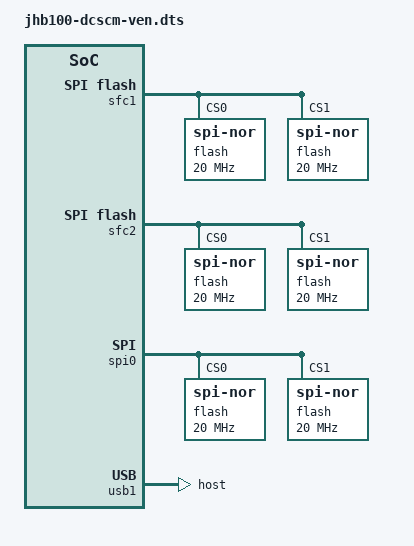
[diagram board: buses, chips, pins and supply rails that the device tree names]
// SPDX-License-Identifier: GPL-2.0 OR MIT
/*
 * Copyright (c) 2026 StarFive Technology Co., Ltd.
 */

#include "jhb100-dcscm.dtsi"
#include "jhb100-evb1-sfc0-flash.dtsi"

/ {
	chosen {
		stdout-path = "serial6:115200n8";
	};
};

&espi0 {
	starfive,vgpio_mode = <1>;
	gpio-line-names  =
										/* Output pins */
		"", "", "", "",							/* VGPIO0-3 */
		"", "",								/* VGPIO4-5 */
		"", "",								/* VGPIO6-7 */
		"", "", "", "", "", "", "", "",					/* VGPIO8-15*/
		"", "", "", "",	"", "", "", "",					/* VGPIO16-23 */
		"", "", "", "",	"", "", "", "",					/* VGPIO23-31 */
										/* Input pins */
		"", "", "", "",							/* VGPIO32-35 */
		"", "", "", "",							/* VGPIO36-39 */
		"", "", "", "",	"", "", "", "",					/* VGPIO40-47 */
		"", "", "", "",	"", "", "", "",					/* VGPIO48-55 */
		"", "", "", "",	"", "", "", "";					/* VGPIO56-63 */
};

&i2c1_master {
	status = "disabled";
};

&i2c2_master {
	status = "disabled";
};

&i2c3_master {
	status = "disabled";
};

&i2c5_master {
	status = "disabled";
};

&i2c14_master {
	status = "disabled";
};

&i2c15_master {
	status = "disabled";
};

&ltpi0 {
	nlgpio-number = /bits/ 16 <128>;

	llgpo0: virgpio@1000 {
		ngpios = <16>;
		status = "okay";
	};

	llgpi0: virgpio@1180 {
		ngpios = <16>;
		status = "okay";
	};

	nlgpo0: virgpio@2000 {
		ngpios = <128>;
		status = "okay";
	};

	nlgpi0: virgpio@2180 {
		ngpios = <128>;
		status = "okay";
	};
};

&ltpi1 {
	nlgpio-number = /bits/ 16 <128>;

	llgpo1: virgpio@1000 {
		ngpios = <16>;
		status = "okay";
	};

	llgpi1: virgpio@1180 {
		ngpios = <16>;
		status = "okay";
	};

	nlgpo1: virgpio@2000 {
		ngpios = <128>;
		status = "okay";
	};

	nlgpi1: virgpio@2180 {
		ngpios = <128>;
		status = "okay";
	};
};

&pinctrl_adc0 {
	gpio-line-names =
		"MUX_I3C14_EN_N", "MUX_I3C15_EN_N",			/* GPIOG0-1 */
		"BMC_MUX_I3C14_SEL", "BMC_MUX_I3C15_SEL",		/* GPIOG2-3 */
		"NC", "NC", "NC", "NC";					/* GPIOG4-7 */
};

&pinctrl_adc1 {
	gpio-line-names =
		"MUX_ROT_P0_EN_N", "MUX_ROT_P0_SEL",			/* GPIOH0-1 */
		"MUX_ROT_P1_EN_N", "MUX_ROT_P1_SEL",			/* GPIOH2-3 */
		"MUX_ROT_PROG_EN_N", "MUX_ROT_PROG_SEL", "NC", "NC";	/* GPIOH4-7 */
};

&pinctrl_bmcperiph0 {
	gpio-line-names =
		"I2C0_SCL", "I2C0_SDA", "I2C1_SCL", "I2C1_SDA",			/* GPIOB0-3 */
		"I2C2_SCL", "I2C2_SDA", "I2C3_SCL", "I2C3_SDA",			/* GPIOB4-7 */
		"I2C4_SCL", "I2C4_SDA", "I3C5_SCL", "I3C5_SDA",			/* GPIOB8-11 */
		"I2C6_SCL", "I2C6_SDA", "I2C7_SCL", "I2C7_SDA",			/* GPIOB12-15 */
		"I2C8_SCL", "I2C8_SDA", "NC", "NC",				/* GPIOB16-19 */
		"I2C10_SCL", "I2C10_SDA", "I2C11_SCL", "I2C11_SDA",		/* GPIOB20-23 */
		"I2C12_SCL", "I2C12_SDA", "I2C13_SCL", "I2C13_SDA",		/* GPIOB24-27 */
		"NC", "NC", "GMAC1_MDC", "GMAC1_MDIO",				/* GPIOB28-31 */
		"NC", "NC", "NC", "NC",						/* GPIOB32-35 */
		"NC", "NC", "NC", "NC",						/* GPIOB36-39 */
		"NC", "NC","NC", "NC",						/* GPIOB40-43 */
		"I3C0LV_SCL", "I3C0LV_SDA", "I3C1LV_SCL", "I3C1LV_SDA",		/* GPIOB44-47 */
		"NC", "NC", "NC", "NC",						/* GPIOB48-51 */
		"NC", "NC", "NC", "NC",						/* GPIOB52-55 */
		"NC", "NC", "NC", "NC";						/* GPIOB56-59 */

	gpioe-i3c0-vsel = <JHB100_VREF_1_8V>; /* VREF for GPIOB8-11, 32-33 */
	gpioe-i3c1-vsel = <JHB100_VREF_1_8V>; /* VREF for GPIOB12-15, 34-35 */
	gpioe-i3c2-vsel = <JHB100_VREF_1_8V>; /* VREF for GPIOB16-23 */
	gpioe-i3c4-vsel = <JHB100_VREF_1_8V>; /* VREF for GPIOB36-43 */
};

&pinctrl_bmcperiph1 {
	gpio-line-names =
		"SPI0_CS0", "SPI0_CS1", "SPI0_SCLK", "SPI0_TX",			/* GPIOC0-3 */
		"SPI0_RX", "SFC0_CS0", "SFC0_CS1", "SFC0_SCLK",			/* GPIOC4-7 */
		"SFC0_IO0", "SFC0_IO1", "SFC0_IO2", "SFC0_IO3",			/* GPIOC8-11 */
		"SFC1_CS0", "SFC1_CS1", "NC", "SFC1_SCLK",			/* GPIOC12-15 */
		"SFC1_IO0", "SFC1_IO1", "SFC1_IO2", "SFC1_IO3",			/* GPIOC16-19 */
		"SFC2_CS0", "SFC2_CS1", "NC", "SFC2_SCLK",			/* GPIOC20-23 */
		"SFC2_IO0", "SFC2_IO1", "SFC2_IO2", "SFC2_IO3",			/* GPIOC24-27 */
		"SGPIO0_CLK", "SGPIO0_LD", "SGPIO0_DO", "SGPIO0_DI",		/* GPIOC28-31 */
		"I2C14_SCL", "I2C14_SDA", "I2C15_SCL", "I2C15_SDA";		/* GPIOC32-35 */

	gpioe-spi-vsel = <JHB100_VREF_3_3V>; /* VREF for GPIOC0-4 */
	gpioe-qspi0-vsel = <JHB100_VREF_3_3V>; /* VREF for GPIOC5-11 */
	gpioe-qspi1-vsel = <JHB100_VREF_1_8V>; /* VREF for GPIOC12-19 */
	gpioe-qspi2-vsel = <JHB100_VREF_1_8V>; /* VREF for GPIOC20-27 */
};

&pinctrl_bmcperiph2 {
	gpio-line-names =
		"USB_PWR_EN", "GMAC1_PHY_INT_N",				/* GPIOD0-1 */
		"VGA_PWR_EN_R", "DP_PWR_EN_R",					/* GPIOD2-3 */
		"M_PESTI_RSVD", "ROT_RSVD_GPIO5",				/* GPIOD4-5 */
		"ROT_RSVD_GPIO6", "ROT_P1_RST_L",				/* GPIOD6-7 */
		"P1_RSTIND_BUF_L", "PROG_BMC_ROTGOLD_FW",			/* GPIOD8-9 */
		"PROG_CPU0_BIOS", "PROG_CPU1_BIOS",				/* GPIOD10-11 */
		"PROG_ROT_FW_FLASH", "RSVD_GPIO_PROG_CNTRL",			/* GPIOD12-13 */
		"ROT_BRD_ID0", "ROT_BRD_ID1",					/* GPIOD14-15 */
		"NC", "BMC_RSTIND_L", "NC", "GMAC2_RCLK",			/* GPIOD16-19 */
		"GMAC2_RXDV", "GMAC2_RXD0", "GMAC2_RXD1", "NC",			/* GPIOD20-23 */
		"NC", "NC", "GMAC2_TXEN", "GMAC2_TXD0",				/* GPIOD24-27 */
		"GMAC2_TXD1", "NC", "NC";					/* GPIOD28-30 */

	gpionw-vsel = <JHB100_VREF_3_3V>; /* VREF for GPIOD19-30 */
};

&pinctrl_bmcperiph2_pok {
	gpio-line-names =
		"NC", "NC", "NC", "NC",					/* GPIOD31-34 */
		"NC", "NC", "NC", "NC",					/* GPIOD35-38 */
		"NC", "NC", "NC", "NC",					/* GPIOD39-42 */
		"NC", "NC", "NC", "NC",					/* GPIOD43-46 */
		"NC", "NC";						/* GPIOD47-48 */
};

&pinctrl_bmcperiph3 {
	gpio-line-names =
		"GMAC0_MDC", "GMAC0_MDIO", "GMAC0_RXD1", "GMAC0_RXD0",		/* GPIOE0-3 */
		"GMAC0_RXDV", "NC", "GMAC0_TXEN", "GMAC0_TXD0",			/* GPIOE4-7 */
		"GMAC0_TXD1", "GMAC0_RCLKI", "GMAC0_RCLKO";			/* GPIOE8-11 */

	gpios-vsel = <JHB100_VREF_3_3V>; /* VREF for GPIOE0-10 */
};

&pinctrl_emmc {
	gpio-line-names =
		"EMMC0_CLK", "EMMC0_RST", "EMMC0_CMD", "EMMC0_DQS",		/* GPIOF0-3 */
		"EMMC0_DATA0", "EMMC0_DATA1", "EMMC0_DATA2", "EMMC0_DATA3",	/* GPIOF4-7 */
		"EMMC0_DATA4", "EMMC0_DATA5", "EMMC0_DATA6", "EMMC0_DATA7";	/* GPIOF8-11 */
};

&pinctrl_sys0 {
	gpio-line-names =
		"NC", "NC", "HB_LED", "PE2_RSTOUT_N";		/* GPIOA0-3 */
};

&pinctrl_sys0h {
	gpio-line-names =
		"ESPI0_IO0", "ESPI0_IO1", "ESPI0_IO2", "ESPI0_IO3",		/* GPIOA4-7 */
		"ESPI0_CLK", "ESPI0_CS", "ESPI0_ALERT", "ESPI0_RESET",		/* GPIOA8-11 */
		"NC", "NC", "NC", "NC";						/* GPIOA12-15 */
};

&pinctrl_sys1 {
	gpio-line-names =
		"ESPI1_IO0", "ESPI1_IO1", "ESPI1_IO2", "ESPI1_IO3",		/* GPIOA16-19 */
		"ESPI1_CLK", "ESPI1_CS", "ESPI1_ALERT", "ESPI1_RESET";		/* GPIOA20-23 */
};

&pinctrl_sys2 {
	gpio-line-names =
		"NC", "P0_RSTIND_BUF_L", "NC", "NC",				/* GPIOA24-27 */
		"UART1_TX", "UART1_RX", "UART2_TX", "UART2_RX",			/* GPIOA28-31 */
		"NC", "NC", "UART4_TX", "UART4_RX",				/* GPIOA32-35 */
		"UART5_TX", "UART5_RX", "UART6_TX", "UART6_RX",			/* GPIOA36-39 */
		"MUX_ROT_UART_EN_N", "MUX_ROT_UART_SEL",			/* GPIOA40-41 */
		"FM_HPM_STBY_RST_N", "FM_HPM_STBY_EN",				/* GPIOA42-43 */
		"ROT_RSVD_GPIO11", "NC",					/* GPIOA44-45 */
		"ROT_RSVD_GPIO13", "HPM_SCM_STBY_RDY",				/* GPIOA46-47 */
		"INTRUDER_CLR_N", "INTRUDER_DET",				/* GPIOA48-49 */
		"NC", "DBP_ASD_SCM_PRDY_LVC3_R_N",				/* GPIOA50-51 */
		"NC", "NC", "NC", "NC",						/* GPIOA52-55 */
		"NC", "NC", "BMC_SELF_KILL", "ROT_P0_RST_L",			/* GPIOA56-59 */
		"NC";								/* GPIOA60 */

	gpiow-vsel = <JHB100_VREF_3_3V>; /* VREF for GPIOA36-43 */
};

&pinctrl_vga_vdac {
	gpio-line-names =
		"VGA_HSYNC", "VGA_VSYNC", "VGA_DDC_CLK", "VGA_DDC_DAT";		/* GPIOI0-3 */
};

&sfc0 {
	rx-sample-delay-ns = <10>;
};

&sfc1 {
	rx-sample-delay-ns = <10>;

	flash@0 {
		compatible = "jedec,spi-nor";
		reg = <0>;
		spi-max-frequency = <20000000>;
		spi-tx-bus-width = <4>;
		spi-rx-bus-width = <4>;
	};

	flash@1 {
		compatible = "jedec,spi-nor";
		reg = <1>;
		spi-max-frequency = <20000000>;
		spi-tx-bus-width = <4>;
		spi-rx-bus-width = <4>;
	};
};

&sfc2 {
	rx-sample-delay-ns = <10>;

	flash@0 {
		compatible = "jedec,spi-nor";
		reg = <0>;
		spi-max-frequency = <20000000>;
		spi-tx-bus-width = <4>;
		spi-rx-bus-width = <4>;
	};

	flash@1 {
		compatible = "jedec,spi-nor";
		reg = <1>;
		spi-max-frequency = <20000000>;
		spi-tx-bus-width = <4>;
		spi-rx-bus-width = <4>;
	};
};

&sgpio0 {
	status = "disabled";
};

&spi0 {
	rx-sample-delay-ns = <15>;

	flash@0 {
		compatible = "jedec,spi-nor";
		spi-max-frequency = <20000000>;
		reg = <0>;
		spi-tx-bus-width = <1>;
		spi-rx-bus-width = <1>;
	};

	flash@1 {
		compatible = "jedec,spi-nor";
		spi-max-frequency = <20000000>;
		reg = <1>;
		spi-tx-bus-width = <1>;
		spi-rx-bus-width = <1>;
	};
};

&uart_routing {
	starfive,chsel = /bits/ 8 <0 0 0 0 0 0 0 0 0 0 0 0 0 0 0>;
	pinctrl-names = "default";
	pinctrl-0 = <&uart1_pins>;
};

&usb1 {
	dr_mode = "host";
};
